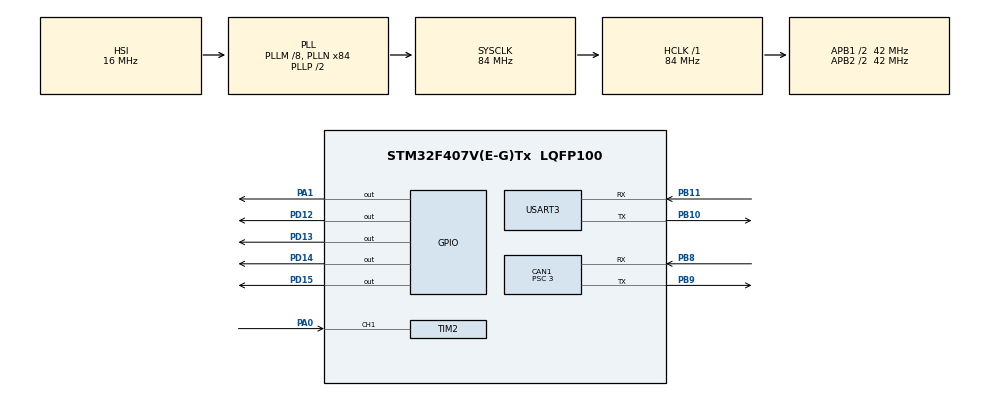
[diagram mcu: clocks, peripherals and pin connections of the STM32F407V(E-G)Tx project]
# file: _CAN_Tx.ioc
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CAN1.ABOM=ENABLE
CAN1.AWUM=ENABLE
CAN1.BS1=CAN_BS1_11TQ
CAN1.BS2=CAN_BS2_2TQ
CAN1.CalculateBaudRate=1000000
CAN1.CalculateTimeBit=1000
CAN1.CalculateTimeQuantum=71.42857142857143
CAN1.NART=ENABLE
CAN1.Prescaler=3
CAN1.TXFP=ENABLE
Mcu.Family=STM32F4
Mcu.Name=STM32F407V(E-G)Tx
Mcu.Package=LQFP100
NVIC.CAN1_RX0_IRQn=true\:0\:0\:false\:false\:true\:true\:true\:true
NVIC.CAN1_TX_IRQn=true\:0\:0\:false\:false\:true\:true\:true\:true
NVIC.PriorityGroup=NVIC_PRIORITYGROUP_0
PA0-WKUP.Signal=S_TIM2_CH1_ETR
PA1.Signal=GPIO_Output
PB10.Mode=Asynchronous
PB10.Signal=USART3_TX
PB11.Mode=Asynchronous
PB11.Signal=USART3_RX
PB8.Mode=CAN_Activate
PB8.Signal=CAN1_RX
PB9.Mode=CAN_Activate
PB9.Signal=CAN1_TX
PD12.Signal=GPIO_Output
PD13.Signal=GPIO_Output
PD14.Signal=GPIO_Output
PD15.Signal=GPIO_Output
PH0-OSC_IN.Mode=HSE-External-Oscillator
PH0-OSC_IN.Signal=RCC_OSC_IN
PH1-OSC_OUT.Mode=HSE-External-Oscillator
PH1-OSC_OUT.Signal=RCC_OSC_OUT
ProjectManager.HeapSize=0x200
ProjectManager.StackSize=0x400
ProjectManager.TargetToolchain=STM32CubeIDE
RCC.48MHZClocksFreq_Value=24000000
RCC.AHBFreq_Value=84000000
RCC.APB1CLKDivider=RCC_HCLK_DIV2
RCC.APB1Freq_Value=42000000
RCC.APB1TimFreq_Value=84000000
RCC.APB2CLKDivider=RCC_HCLK_DIV2
RCC.APB2Freq_Value=42000000
RCC.APB2TimFreq_Value=84000000
RCC.CortexFreq_Value=84000000
RCC.HCLKFreq_Value=84000000
RCC.HSE_VALUE=8000000
RCC.HSI_VALUE=16000000
RCC.LSE_VALUE=32768
RCC.PLLM=8
RCC.PLLN=84
RCC.PLLQ=7
RCC.SYSCLKFreq_VALUE=84000000
RCC.SYSCLKSource=RCC_SYSCLKSOURCE_PLLCLK
RCC.VCOOutputFreq_Value=168000000
SH.S_TIM2_CH1_ETR.0=TIM2_CH1,Input_Capture1_from_TI1
TIM2.Channel-Input_Capture1_from_TI1=TIM_CHANNEL_1
TIM2.Period=65535
TIM2.Prescaler=84-1
USART3.VirtualMode=VM_ASYNC
VP_TIM2_VS_ClockSourceINT.Mode=Internal
board=STM32F407G-DISC1

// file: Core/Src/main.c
/* USER CODE BEGIN Header */
/**
  ******************************************************************************
  * @file           : main.c
  * @brief          : Main program body (merged - ultrasonic + CAN TX)
  ******************************************************************************
  * @attention
  *
  * Copyright (c) 2025 STMicroelectronics.
  * All rights reserved.
  *
  ******************************************************************************
  */
/* USER CODE END Header */
#include "main.h"

/* USER CODE BEGIN Includes */
#include <stdio.h>
#include <string.h>
#include <stdarg.h>
/* USER CODE END Includes */

CAN_HandleTypeDef hcan1;

TIM_HandleTypeDef htim2;

UART_HandleTypeDef huart3;

/* USER CODE BEGIN PV */
volatile uint32_t ic_val1 = 0;
volatile uint32_t ic_val2 = 0;
volatile uint8_t is_first_captured = 0; // 0 = not yet, 1 = first captured
volatile uint8_t capture_done = 0;

/* CAN TX */
CAN_TxHeaderTypeDef canTxHeader;
uint8_t canTxData[8];
uint32_t canTxMailbox;
/* USER CODE END PV */

void SystemClock_Config(void);
static void MX_GPIO_Init(void);
static void MX_CAN1_Init(void);
static void MX_TIM2_Init(void);
static void MX_USART3_UART_Init(void);
/* USER CODE BEGIN PFP */
static void DWT_Delay_Init(void);
static void delay_us(uint32_t us);

/* Minimal print function wrapper */
static void uart_printf(const char *fmt, ...);

/* USER CODE END PFP */

int main(void)
{

  /* MCU Configuration--------------------------------------------------------*/
  HAL_Init();

  SystemClock_Config();

  /* Initialize all configured peripherals */
  MX_GPIO_Init();
  MX_CAN1_Init();
  MX_TIM2_Init();
  MX_USART3_UART_Init();

  /* USER CODE BEGIN 2 */
  DWT_Delay_Init();          // enable DWT cycle counter for microsecond delays

  /* Start input capture interrupt on TIM2 CH1 */
  __HAL_TIM_SET_COUNTER(&htim2, 0);
  if (HAL_TIM_IC_Start_IT(&htim2, TIM_CHANNEL_1) != HAL_OK)
  {
    Error_Handler();
  }

  /* Prepare CAN TX header (send 4 bytes float) */
  canTxHeader.DLC = 4;               // 4 bytes for float
  canTxHeader.IDE = CAN_ID_STD;
  canTxHeader.RTR = CAN_RTR_DATA;
  canTxHeader.StdId = 0x123;         // <--- change CAN ID as needed
  canTxHeader.TransmitGlobalTime = DISABLE;

  uart_printf("STM32F407VG Ultrasonic (TIM2 IC -> CAN1 & USART3)\r\n");
  /* USER CODE END 2 */

  /* Infinite loop */
  while (1)
  {
    /* USER CODE BEGIN WHILE */
      /* Trigger the sensor: 10us HIGH pulse on TRIG (PA1) */
      is_first_captured = 0;
      capture_done = 0;
      __HAL_TIM_SET_COUNTER(&htim2, 0); // reset counter

      HAL_GPIO_WritePin(GPIOA, GPIO_PIN_1, GPIO_PIN_SET);
      delay_us(10); // 10 microsecond trigger
      HAL_GPIO_WritePin(GPIOA, GPIO_PIN_1, GPIO_PIN_RESET);

      /* Wait for capture to complete or timeout (50 ms) */
      uint32_t start = HAL_GetTick();
      while (!capture_done)
      {
          if ((HAL_GetTick() - start) > 50) // timeout 50ms
          {
              uart_printf("Timeout: no echo\r\n");
              break;
          }
      }

      if (capture_done)
      {
          uint32_t diff;
          /* TIM2 configured with prescaler such that tick = 1us (SystemCoreClock/84 -> 1MHz)
             Timer Period = 65535 -> 16-bit, handle overflow accordingly */
          if (ic_val2 >= ic_val1)
              diff = ic_val2 - ic_val1;
          else
              diff = (0xFFFF - ic_val1) + ic_val2 + 1; // handle 16-bit overflow

          /* Speed of sound: ~343 m/s = 0.0343 cm/us
             Distance (cm) = (time_us * 0.0343) / 2 = time_us * 0.01715
          */
          float distance_cm = (float)diff * 0.01715f;
          uart_printf("Pulse: %lu us, Distance: %.2f cm\r\n", (unsigned long)diff, distance_cm);

          /* ------ SEND VIA CAN ------ */
          memcpy(canTxData, &distance_cm, 4); // float -> 4 bytes, little-endian

          if (HAL_CAN_AddTxMessage(&hcan1, &canTxHeader, canTxData, &canTxMailbox) != HAL_OK)
          {
              uart_printf("CAN TX Error\r\n");
          }
          else
          {
              /* Optionally wait until message leaves mailbox or check HAL status */
              uart_printf("CAN Sent: %.2f cm (ID: 0x%03lX)\r\n", distance_cm, (unsigned long)canTxHeader.StdId);
          }
      }

      HAL_Delay(200); // measure ~5 times / second
    /* USER CODE END WHILE */

  }
}

void SystemClock_Config(void)
{
  RCC_OscInitTypeDef RCC_OscInitStruct = {0};
  RCC_ClkInitTypeDef RCC_ClkInitStruct = {0};

  /** Configure the main internal regulator output voltage
  */
  __HAL_RCC_PWR_CLK_ENABLE();
  __HAL_PWR_VOLTAGESCALING_CONFIG(PWR_REGULATOR_VOLTAGE_SCALE1);

  /** Initializes the RCC Oscillators according to the specified parameters
  */
  RCC_OscInitStruct.OscillatorType = RCC_OSCILLATORTYPE_HSI;
  RCC_OscInitStruct.HSIState = RCC_HSI_ON;
  RCC_OscInitStruct.HSICalibrationValue = RCC_HSICALIBRATION_DEFAULT;
  RCC_OscInitStruct.PLL.PLLState = RCC_PLL_ON;
  RCC_OscInitStruct.PLL.PLLSource = RCC_PLLSOURCE_HSI;
  RCC_OscInitStruct.PLL.PLLM = 8;
  RCC_OscInitStruct.PLL.PLLN = 84;
  RCC_OscInitStruct.PLL.PLLP = RCC_PLLP_DIV2;
  RCC_OscInitStruct.PLL.PLLQ = 7;
  if (HAL_RCC_OscConfig(&RCC_OscInitStruct) != HAL_OK)
  {
    Error_Handler();
  }

  /** Initializes the CPU, AHB and APB buses clocks
  */
  RCC_ClkInitStruct.ClockType = RCC_CLOCKTYPE_HCLK|RCC_CLOCKTYPE_SYSCLK
                              |RCC_CLOCKTYPE_PCLK1|RCC_CLOCKTYPE_PCLK2;
  RCC_ClkInitStruct.SYSCLKSource = RCC_SYSCLKSOURCE_PLLCLK;
  RCC_ClkInitStruct.AHBCLKDivider = RCC_SYSCLK_DIV1;
  /* APB1CLKDivider = HCLK/2 (for TIM2 prescaler base assumptions) */
  RCC_ClkInitStruct.APB1CLKDivider = RCC_HCLK_DIV2;
  RCC_ClkInitStruct.APB2CLKDivider = RCC_HCLK_DIV2;

  if (HAL_RCC_ClockConfig(&RCC_ClkInitStruct, FLASH_LATENCY_2) != HAL_OK)
  {
    Error_Handler();
  }
}

static void MX_CAN1_Init(void)
{

  hcan1.Instance = CAN1;
  hcan1.Init.Prescaler = 3;
  hcan1.Init.Mode = CAN_MODE_NORMAL;
  hcan1.Init.SyncJumpWidth = CAN_SJW_1TQ;
  hcan1.Init.TimeSeg1 = CAN_BS1_11TQ;
  hcan1.Init.TimeSeg2 = CAN_BS2_2TQ;
  hcan1.Init.TimeTriggeredMode = DISABLE;
  hcan1.Init.AutoBusOff = ENABLE;
  hcan1.Init.AutoWakeUp = ENABLE;
  hcan1.Init.AutoRetransmission = ENABLE;
  hcan1.Init.ReceiveFifoLocked = DISABLE;
  hcan1.Init.TransmitFifoPriority = ENABLE;
  if (HAL_CAN_Init(&hcan1) != HAL_OK)
  {
    Error_Handler();
  }

  /* USER CODE BEGIN CAN1_Init 2 */
  /* Configure CAN filter to accept all messages (change for production) */
  CAN_FilterTypeDef canFilter;
  canFilter.FilterActivation = ENABLE;
  canFilter.FilterBank = 0;
  canFilter.FilterFIFOAssignment = CAN_FILTER_FIFO0;
  canFilter.FilterIdHigh = 0x0000;
  canFilter.FilterIdLow = 0x0000;
  canFilter.FilterMaskIdHigh = 0x0000;
  canFilter.FilterMaskIdLow = 0x0000;
  canFilter.FilterMode = CAN_FILTERMODE_IDMASK;
  canFilter.FilterScale = CAN_FILTERSCALE_32BIT;
  canFilter.SlaveStartFilterBank = 14; // default for single CAN

  if (HAL_CAN_ConfigFilter(&hcan1, &canFilter) != HAL_OK)
  {
      Error_Handler();
  }

  /* Start CAN */
  if (HAL_CAN_Start(&hcan1) != HAL_OK)
  {
      Error_Handler();
  }

  /* Enable RX interrupt (message pending) */
  if (HAL_CAN_ActivateNotification(&hcan1, CAN_IT_RX_FIFO0_MSG_PENDING) != HAL_OK)
  {
      Error_Handler();
  }

  /* Enable CAN RX0 IRQ in NVIC (optional, HAL CAN IRQ handler used) */
  HAL_NVIC_SetPriority(CAN1_RX0_IRQn, 0, 0);
  HAL_NVIC_EnableIRQ(CAN1_RX0_IRQn);
  /* USER CODE END CAN1_Init 2 */
}

static void MX_TIM2_Init(void)
{
  TIM_ClockConfigTypeDef sClockSourceConfig = {0};
  TIM_MasterConfigTypeDef sMasterConfig = {0};
  TIM_IC_InitTypeDef sConfigIC = {0};

  htim2.Instance = TIM2;
  /* Prescaler chosen to generate 1 MHz timer clock assuming SystemCoreClock = 84 MHz:
     Prescaler = 84 - 1 -> timer tick = 1 us */
  htim2.Init.Prescaler = 84-1;
  htim2.Init.CounterMode = TIM_COUNTERMODE_UP;
  htim2.Init.Period = 65535; /* 16-bit top */
  htim2.Init.ClockDivision = TIM_CLOCKDIVISION_DIV1;
  htim2.Init.AutoReloadPreload = TIM_AUTORELOAD_PRELOAD_DISABLE;
  if (HAL_TIM_Base_Init(&htim2) != HAL_OK)
  {
    Error_Handler();
  }
  sClockSourceConfig.ClockSource = TIM_CLOCKSOURCE_INTERNAL;
  if (HAL_TIM_ConfigClockSource(&htim2, &sClockSourceConfig) != HAL_OK)
  {
    Error_Handler();
  }
  if (HAL_TIM_IC_Init(&htim2) != HAL_OK)
  {
    Error_Handler();
  }
  sMasterConfig.MasterOutputTrigger = TIM_TRGO_RESET;
  sMasterConfig.MasterSlaveMode = TIM_MASTERSLAVEMODE_DISABLE;
  if (HAL_TIMEx_MasterConfigSynchronization(&htim2, &sMasterConfig) != HAL_OK)
  {
    Error_Handler();
  }
  /* Input capture channel config */
  sConfigIC.ICPolarity = TIM_INPUTCHANNELPOLARITY_RISING;
  sConfigIC.ICSelection = TIM_ICSELECTION_DIRECTTI;
  sConfigIC.ICPrescaler = TIM_ICPSC_DIV1;
  sConfigIC.ICFilter = 0;
  if (HAL_TIM_IC_ConfigChannel(&htim2, &sConfigIC, TIM_CHANNEL_1) != HAL_OK)
  {
    Error_Handler();
  }

  /* Enable TIM2 IRQ in NVIC for HAL TIM handling */
  HAL_NVIC_SetPriority(TIM2_IRQn, 1, 0);
  HAL_NVIC_EnableIRQ(TIM2_IRQn);
}

static void MX_USART3_UART_Init(void)
{
  huart3.Instance = USART3;
  huart3.Init.BaudRate = 115200;
  huart3.Init.WordLength = UART_WORDLENGTH_8B;
  huart3.Init.StopBits = UART_STOPBITS_1;
  huart3.Init.Parity = UART_PARITY_NONE;
  huart3.Init.Mode = UART_MODE_TX_RX;
  huart3.Init.HwFlowCtl = UART_HWCONTROL_NONE;
  huart3.Init.OverSampling = UART_OVERSAMPLING_16;
  if (HAL_UART_Init(&huart3) != HAL_OK)
  {
    Error_Handler();
  }
}

static void MX_GPIO_Init(void)
{
  GPIO_InitTypeDef GPIO_InitStruct = {0};

  /* GPIO Ports Clock Enable */
  __HAL_RCC_GPIOH_CLK_ENABLE();
  __HAL_RCC_GPIOA_CLK_ENABLE();
  __HAL_RCC_GPIOB_CLK_ENABLE();
  __HAL_RCC_GPIOD_CLK_ENABLE();

  /*Configure GPIO pin Output Level : PA1 (TRIG) */
  HAL_GPIO_WritePin(GPIOA, GPIO_PIN_1, GPIO_PIN_RESET);

  /*Configure GPIO pin Output Level : LEDs PD12..PD15 */
  HAL_GPIO_WritePin(GPIOD, GPIO_PIN_12|GPIO_PIN_13|GPIO_PIN_14|GPIO_PIN_15, GPIO_PIN_RESET);

  /*Configure GPIO pin : PA1 (TRIG) */
  GPIO_InitStruct.Pin = GPIO_PIN_1;
  GPIO_InitStruct.Mode = GPIO_MODE_OUTPUT_PP;
  GPIO_InitStruct.Pull = GPIO_NOPULL;
  GPIO_InitStruct.Speed = GPIO_SPEED_FREQ_LOW;
  HAL_GPIO_Init(GPIOA, &GPIO_InitStruct);

  /*Configure GPIO pins : PD12 PD13 PD14 PD15 (LEDs) */
  GPIO_InitStruct.Pin = GPIO_PIN_12|GPIO_PIN_13|GPIO_PIN_14|GPIO_PIN_15;
  GPIO_InitStruct.Mode = GPIO_MODE_OUTPUT_PP;
  GPIO_InitStruct.Pull = GPIO_NOPULL;
  GPIO_InitStruct.Speed = GPIO_SPEED_FREQ_LOW;
  HAL_GPIO_Init(GPIOD, &GPIO_InitStruct);

  /*Configure GPIO pin : PA0 (TIM2 CH1) as AF for TIM2 */
  GPIO_InitStruct.Pin = GPIO_PIN_0;
  GPIO_InitStruct.Mode = GPIO_MODE_AF_PP;
  GPIO_InitStruct.Pull = GPIO_NOPULL;
  GPIO_InitStruct.Speed = GPIO_SPEED_FREQ_HIGH;
  GPIO_InitStruct.Alternate = GPIO_AF1_TIM2;
  HAL_GPIO_Init(GPIOA, &GPIO_InitStruct);

  /* Configure CAN1 TX/RX pins: PB9 (TX), PB8 (RX) - AF9 */
  GPIO_InitStruct.Pin = GPIO_PIN_8|GPIO_PIN_9;
  GPIO_InitStruct.Mode = GPIO_MODE_AF_PP;
  GPIO_InitStruct.Pull = GPIO_NOPULL;
  GPIO_InitStruct.Speed = GPIO_SPEED_FREQ_VERY_HIGH;
  GPIO_InitStruct.Alternate = GPIO_AF9_CAN1;
  HAL_GPIO_Init(GPIOB, &GPIO_InitStruct);
}

/* USER CODE BEGIN 4 */

/* Input Capture Callback */
void HAL_TIM_IC_CaptureCallback(TIM_HandleTypeDef *htim)
{
    if (htim->Channel == HAL_TIM_ACTIVE_CHANNEL_1)
    {
        if (is_first_captured == 0)
        {
            ic_val1 = HAL_TIM_ReadCapturedValue(htim, TIM_CHANNEL_1);
            is_first_captured = 1;

            /* Switch polarity to capture falling edge (end of echo pulse) */
            __HAL_TIM_SET_CAPTUREPOLARITY(htim, TIM_CHANNEL_1, TIM_INPUTCHANNELPOLARITY_FALLING);
        }
        else
        {
            ic_val2 = HAL_TIM_ReadCapturedValue(htim, TIM_CHANNEL_1);

            /* Restore polarity to rising for next measurement */
            __HAL_TIM_SET_CAPTUREPOLARITY(htim, TIM_CHANNEL_1, TIM_INPUTCHANNELPOLARITY_RISING);

            capture_done = 1;
        }
    }
}

/* CAN RX callback - optional: prints received float (first 4 bytes) */
void HAL_CAN_RxFifo0MsgPendingCallback(CAN_HandleTypeDef *hcan)
{
    CAN_RxHeaderTypeDef rxHeader;
    uint8_t rxData[8];

    if (HAL_CAN_GetRxMessage(hcan, CAN_RX_FIFO0, &rxHeader, rxData) != HAL_OK)
    {
        return;
    }

    if (rxHeader.DLC >= 4)
    {
        float rcvd;
        memcpy(&rcvd, rxData, 4);
        uart_printf("CAN RX: %.2f cm (ID: 0x%03lX)\r\n", rcvd, (unsigned long)rxHeader.StdId);
    }
}

/* TIM2 IRQHandler - forward to HAL */
void TIM2_IRQHandler(void)
{
  HAL_TIM_IRQHandler(&htim2);
}

/* DWT initialization for microsecond delay */
static void DWT_Delay_Init(void)
{
    /* Enable TRC */
    CoreDebug->DEMCR |= CoreDebug_DEMCR_TRCENA_Msk;
    /* Reset the cycle counter */
    DWT->CYCCNT = 0;
    /* Enable the cycle counter */
    DWT->CTRL |= DWT_CTRL_CYCCNTENA_Msk;
}

/* Delay in microseconds using cycle counter */
static void delay_us(uint32_t us)
{
    uint32_t cycles = (SystemCoreClock / 1000000L) * us;
    uint32_t start = DWT->CYCCNT;
    while ((DWT->CYCCNT - start) < cycles) { /* busy wait */ }
}

/* UART helper (printf style) */
static void uart_printf(const char *fmt, ...)
{
    char buf[128];
    va_list args;
    va_start(args, fmt);
    vsnprintf(buf, sizeof(buf), fmt, args);
    va_end(args);
    HAL_UART_Transmit(&huart3, (uint8_t *)buf, strlen(buf), HAL_MAX_DELAY);
}

/* USER CODE END 4 */

void Error_Handler(void)
{
  __disable_irq();
  while (1)
  {
    /* Optionally blink an LED here to indicate error */
  }
}
